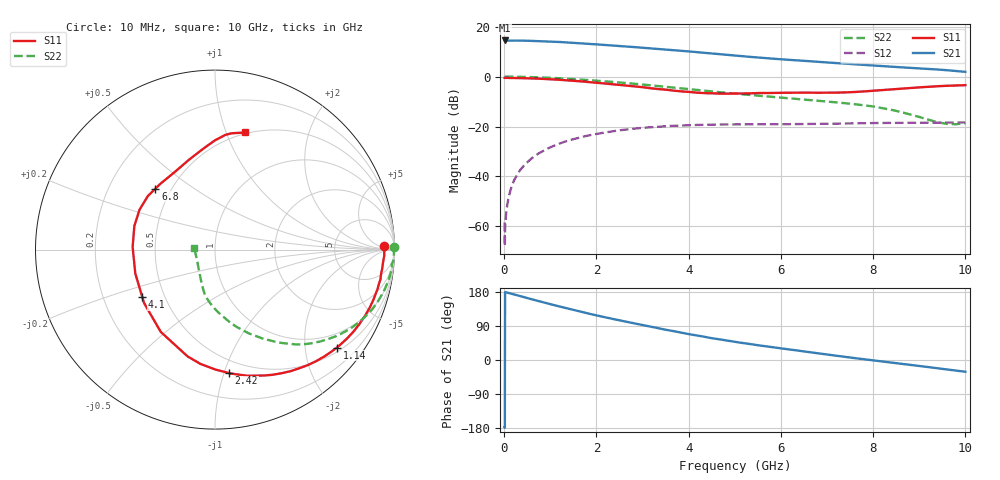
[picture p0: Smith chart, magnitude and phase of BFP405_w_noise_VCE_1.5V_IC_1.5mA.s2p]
! Infineon Technologies  Discrete & RF Semiconductors
! BFP405
! VCE =  1.5 V,  IC =  1.5 mA
! Common Emitter S-Parameters:  Jan 2016
# GHz  S  MA  R  50
!  f  S11  S21  S12  S22
! GHz  MAG  ANG  MAG  ANG  MAG  ANG  MAG  ANG
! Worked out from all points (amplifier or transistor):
!   233 points, 10 MHz to 10 GHz, reference 50 ohm
!   highest |S21| = 14.5 dB at 10 MHz (marker M1)
!   |S21| within 3 dB of that: start of sweep to 3.056 GHz
!   unconditionally stable (mu >= 1): 14.5 MHz to 15.23 MHz; 4.663 GHz to end of sweep
!   at 200 MHz: K = 0.02, MSG = 28.3 dB, |S12| = -42.3 dB
!   at 1.74 GHz: K = 0.28, MSG = 18.6 dB, |S12| = -23.9 dB
!   at 10 GHz: K = 1.83, MAG = 4.9 dB, |S12| = -18.4 dB
!   lowest NFmin = 0.79 dB at 900 MHz
!   S11 on the Smith chart (normalised r, x): 10 MHz: 31, +11; 1.14 GHz: 0.60, -2.72; 2.42 GHz: 0.39, -1.04; 4.1 GHz: 0.37, -0.26; 6.8 GHz: 0.41, +0.36; 10 GHz: 0.49, +1.17
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0.01  0.9441 1.2  5.304 -177.2  0.0012 -41.5  1 0.7
0.015  0.9433 0.4  5.272 -179.0  0.0004 7.1  0.9969 0.4
0.02  0.9426 -0.4  5.246 179.2  0.0009 95.9  0.9939 0.1
0.025  0.9428 -0.7  5.244 179.1  0.0011 91.8  0.9944 -0.0
0.07  0.9426 -2.5  5.252 177.8  0.0028 85.2  0.9971 -1.1
0.17  0.9379 -5.7  5.267 174.5  0.0066 87.1  0.9949 -3.2
0.32  0.935 -10.8  5.264 169.6  0.0123 84.3  0.9916 -6.1
0.78  0.9068 -26.5  5.145 154.5  0.03 75.6  0.9649 -14.7
1.14  0.8709 -38.8  4.98 143.0  0.0434 68.4  0.9328 -21.4
1.68  0.8001 -57.4  4.646 126.9  0.0617 57.9  0.8702 -30.6
2  0.7534 -68.6  4.429 117.8  0.0712 51.9  0.8297 -35.5
2.42  0.6926 -83.5  4.153 106.7  0.0819 44.4  0.7739 -41.6
2.8  0.6422 -97.2  3.919 97.1  0.0903 38.0  0.7226 -46.9
3.4  0.5569 -119.3  3.548 82.5  0.1001 28.4  0.6384 -54.5
4.1  0.4837 -146.8  3.136 66.4  0.1071 18.6  0.5483 -63.1
4.5  0.4635 -163.4  2.916 57.6  0.1094 13.7  0.5035 -68.0
5.1  0.4585 175.3  2.596 46.1  0.1106 7.5  0.4472 -74.4
6  0.4756 152.2  2.226 30.7  0.1111 0.9  0.3802 -82.6
6.8  0.4749 134.3  1.98 17.7  0.1129 -3.6  0.329 -90.2
8.4  0.555 98.6  1.579 -7.0  0.1179 -12.8  0.2155 -109.1
9.6  0.6546 81.9  1.344 -25.0  0.1199 -18.6  0.1127 -156.4
10  0.6739 75.5  1.246 -31.0  0.1206 -20.1  0.1168 174.8
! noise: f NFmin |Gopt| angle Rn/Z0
0.9  0.79  0.64  15  0.47
1.8  1.18  0.51  29  0.42
2.4  1.41  0.42  40  0.39
3  1.48  0.42  55  0.36
4  1.72  0.3  82  0.27
5  2.06  0.26  118  0.21
